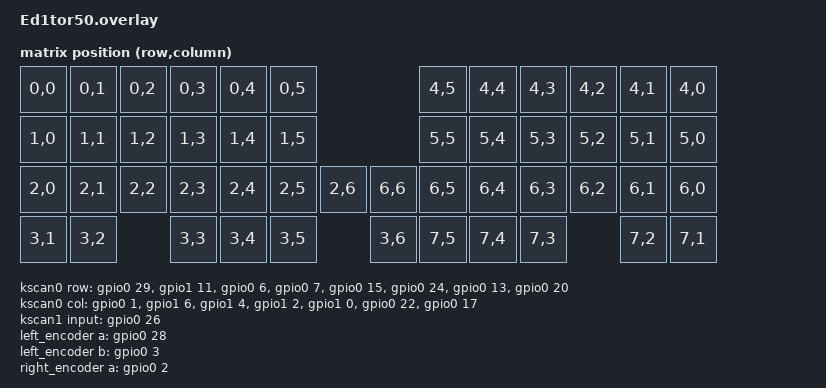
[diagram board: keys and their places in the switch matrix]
/*
 * Copyright (c) 2020 The ZMK Contributors
 *
 * SPDX-License-Identifier: MIT
 */

#include <dt-bindings/zmk/matrix_transform.h>
#include <zephyr/dt-bindings/input/input-event-codes.h>
#include <input/processors.dtsi>
#include "Ed1tor50-layouts.dtsi"
#include <dt-bindings/led/led.h>

#include <zmk_driver_animation/animation.dtsi>
#include <zmk_driver_animation/animation_layer_status.dtsi>
#include <dt-bindings/zmk_driver_animation/animation_control.h>
#include <dt-bindings/zmk_driver_animation/animation_trigger.h>
#include <behaviors/animation_trigger.dtsi>

&physical_layout0 {
    transform = <&matrix_transform>;
};


/ {
    chosen {
        zmk,kscan = &kscan0;
		zmk,underglow = &led_strip;
		zmk,physical-layout = &physical_layout0;

        // Set root animation device. Suggested device is zmk,animation-control.
        zmk,animation = &root_animation;
        // Set zmk,animation-control device to be accessed from behavior.
        zmk,animation-control = &root_animation;
    };


    kscan0: kscan_matrix {
        compatible = "zmk,kscan-gpio-matrix";
        wakeup-source;	
        diode-direction = "col2row";

         col-gpios
                = <&gpio0 1 GPIO_ACTIVE_HIGH>
                , <&gpio1 6 GPIO_ACTIVE_HIGH>
                , <&gpio1 4 GPIO_ACTIVE_HIGH>
                , <&gpio1 2 GPIO_ACTIVE_HIGH>
                , <&gpio1 0 GPIO_ACTIVE_HIGH>
                , <&gpio0 22 GPIO_ACTIVE_HIGH>
                , <&gpio0 17 GPIO_ACTIVE_HIGH>
                ;

        row-gpios
                = <&gpio0 29 (GPIO_ACTIVE_HIGH | GPIO_PULL_DOWN)>
                , <&gpio1 11 (GPIO_ACTIVE_HIGH | GPIO_PULL_DOWN)>
                , <&gpio0 6 (GPIO_ACTIVE_HIGH | GPIO_PULL_DOWN)>
                , <&gpio0 7 (GPIO_ACTIVE_HIGH | GPIO_PULL_DOWN)>
                , <&gpio0 15 (GPIO_ACTIVE_HIGH | GPIO_PULL_DOWN)>
                , <&gpio0 24 (GPIO_ACTIVE_HIGH | GPIO_PULL_DOWN)>
                , <&gpio0 13 (GPIO_ACTIVE_HIGH | GPIO_PULL_DOWN)>
                , <&gpio0 20 (GPIO_ACTIVE_HIGH | GPIO_PULL_DOWN)>
                ;
    };

	    matrix_transform: keymap_transform_0 {
        compatible = "zmk,matrix-transform";
        rows = <8>;
        columns = <7>;
        map = <
            RC(0,0) RC(0,1) RC(0,2) RC(0,3) RC(0,4) RC(0,5)                        RC(4,5) RC(4,4) RC(4,3) RC(4,2) RC(4,1) RC(4,0)             
            RC(1,0) RC(1,1) RC(1,2) RC(1,3) RC(1,4) RC(1,5)                        RC(5,5) RC(5,4) RC(5,3) RC(5,2) RC(5,1) RC(5,0)             
            RC(2,0) RC(2,1) RC(2,2) RC(2,3) RC(2,4) RC(2,5) RC(2,6)        RC(6,6) RC(6,5) RC(6,4) RC(6,3) RC(6,2) RC(6,1) RC(6,0)
            RC(3,1) RC(3,2)         RC(3,3) RC(3,4) RC(3,5)         RC(3,6)        RC(7,5) RC(7,4) RC(7,3)         RC(7,2) RC(7,1)       
        >;
    };

    kscan1: kscan_joystick_button {
		compatible = "zmk,kscan-gpio-direct";
		wakeup-source;
		toggle-mode;
		input-gpios = <&gpio0 26 (GPIO_ACTIVE_HIGH | GPIO_PULL_UP)>;
	};

	left_encoder: encoder_left {
		compatible = "alps,ec11";
		a-gpios = <&gpio0 28 (GPIO_ACTIVE_HIGH | GPIO_PULL_UP)>;
		b-gpios = <&gpio0 3 (GPIO_ACTIVE_HIGH | GPIO_PULL_UP)>;
		steps = <30>;
		status = "okay";
	};

	right_encoder: encoder_right {
		compatible = "alps,ec11";
		a-gpios = <&gpio0 2 (GPIO_ACTIVE_HIGH | GPIO_PULL_UP)>;
		b-gpios = <&gpio1 13 (GPIO_ACTIVE_HIGH | GPIO_PULL_UP)>;
		steps = <30>;
		status = "okay";
	};

	sensors {
		compatible = "zmk,keymap-sensors";
		sensors = <&left_encoder &right_encoder>;
		triggers-per-rotation = <15>;
	};
	
	joystick_listener {
		compatible = "zmk,input-listener";
		device = <&anin0>;
	};

    led_power:led_power {
    compatible = "zmk,ext-power-transient";
    control-gpios = <&gpio1 9 (GPIO_ACTIVE_LOW)>;
    };

     // Animation node which controls animation device.
    // LED device and pixel mapping is defined in it.
    animation: animation {
        compatible = "zmk,animation";
        drivers = <&led_strip>;
        pixels = <&pixel 0 0>,
            <&pixel 1 0>;
        chain-lengths = <2>;
    };


    // Root animation played by &animation node. It keeps running during ZMK is active state (and idle state depends on setting).
    // zmk,animation-control plays child animations depending on power status, event and user input.
    root_animation:animation_0 {
        compatible = "zmk,animation-control";
        label = "ANIMATION_CTRL_0";
        powered-animations = <&endpoint_status &rainbow_animation>;
        battery-animations = <&empty_animation>;
        behavior-animations = <&battery_status &endpoint_status &animation_layer_status>;
        init-animation = <&init_animation>;
        activation-animation = <&battery_status>;
        activation-animation-duration-ms = <1000>;
        ext-power = <&led_power>;
    };

    //
    // Animation definitions
    //

    // animation played at start up.
    // zmk,animation-compose can compose multiple animations.
    init_animation:init_animation {
        compatible = "zmk,animation-compose";
        // animations are played sequentially by default. Parallel mode is also supported.
        // Below setting shows battery status animation for 1sec, black for 0.2sec and shows endpoint status for 1sec.
        animations = <&battery_status &black_animation &endpoint_status>;
        durations-ms = <1000 200 1000>;
    };

    black_animation:black_animation {
        compatible = "zmk,animation-solid";
        pixels = <0 1>;
        colors = <HSL(0, 0, 0)>;
    };

    // zmk,animation-empty is special device. animation-control turns OFF LED module during playing it by setting ext-power OFF.
    empty_animation:empty_animation {
        compatible = "zmk,animation-empty";
        status = "okay";
    };
    rainbow_animation:rainbow_animation {
        compatible = "zmk,animation-solid";
        status = "okay";
        pixels = <0 1>;
        colors = <HSL(0, 100, 50) HSL(60, 100, 50) HSL(120, 100, 50) HSL(180, 100, 50) HSL(240, 100, 50) HSL(300, 100, 50)>;
    };
    // endpoint status animation
    // The driver also implements endpoint change event handling and animation automatically played when endpoint changed.
    endpoint_status:endpoint_status {
        compatible = "zmk,animation-endpoint";
        status = "okay";
        pixels = <0 1>;
        color-open = <HSL(60, 100, 50)>;
        color-connected = <HSL(240, 100, 50)>;
        color-disconnected = <HSL(0, 100, 50)>;
        color-usb = <HSL(120, 100, 25)>;
    };
    // Battery status animation
    // The driver also implements battery status change event handling and show warning animation when battery percentage became low.
    battery_status:battery_status {
        compatible = "zmk,animation-battery-status";
        status = "okay";
        pixels = <0 1>;
        color-high = <HSL(120, 100, 50)>; // green
        color-middle = <HSL(60, 100, 50)>; // yellow
        color-low = <HSL(0, 100, 50)>; // red
    };
};



// zmk,animation-layer-status is provided by #include <zmk_driver_animation/animation_layer_status.dtsi> (Why...? I completely forgot reason why only this node is pre-defined...)
// Below code overwrites some fields to work nicely with https://github.com/cormoran/zmk-feature-default-layer
&animation_layer_status {
    pixels = <0 1>;
    default-color = <HSL(240, 100, 50)>;
    // default
    // windows blue
    // mac red
    // ios white
    // linux orange
    colors = <
        HSL(240, 100, 50)
        HSL(193, 100, 47)
        HSL(0, 100, 40)
        HSL(0, 100, 100)
        HSL(29, 88, 51)
    >;

};


&adc {
    status = "okay";
};


&pinctrl {
    spi3_default: spi3_default {
        group1 {
            psels = <NRF_PSEL(SPIM_MOSI, 0, 9)>; // WS2812_VEXT_DATA
        };
    };
    spi3_sleep: spi3_sleep {
        group1 {
            psels = <NRF_PSEL(SPIM_MOSI, 0, 9)>;
            low-power-enable;
        };
    };
};

&spi3 {
    compatible = "nordic,nrf-spim";
    status = "okay";

    pinctrl-0 = <&spi3_default>;
    pinctrl-1 = <&spi3_sleep>;
    pinctrl-names = "default", "sleep";

    led_strip: ws2812@0 {
        compatible = "worldsemi,ws2812-spi";

        /* SPI */
        reg = <0>; /* ignored, but necessary for SPI bindings */
        spi-max-frequency = <4000000>;

        /* WS2812 */
        chain-length = <2>; /* number of LEDs */
        spi-one-frame = <0x70>;
        spi-zero-frame = <0x40>;
        color-mapping = <LED_COLOR_ID_GREEN
                         LED_COLOR_ID_RED
                         LED_COLOR_ID_BLUE>;
    };
};

/ {
	anin0: analog_input_0 {
		compatible = "zmk,analog-input";
		sampling-hz = <100>;

  x-ch {
   io-channels = <&adc 7>;
   mv-mid = <32767>;
   mv-min-max = <800>;
   mv-deadzone = <50>;
   scale-multiplier = <1>;
   scale-divisor = <6>;
   evt-type = <INPUT_EV_REL>;
   input-code = <INPUT_REL_X>;
   report-on-change-only;
  };
  y-ch {
   io-channels = <&adc 6>;
   mv-mid = <32767>;
   mv-min-max = <800>;
   mv-deadzone = <50>;
   scale-multiplier = <1>;
   scale-divisor = <6>;
   evt-type = <INPUT_EV_REL>;
   input-code = <INPUT_REL_Y>;
   report-on-change-only;
  };
	};
};

